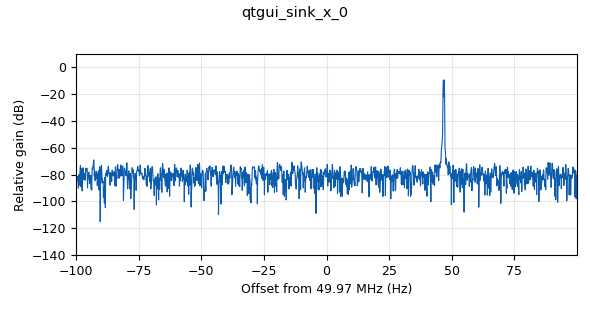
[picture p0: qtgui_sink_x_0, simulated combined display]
options:
  parameters:
    author: amp
    generate_options: qt_gui
    id: gr_meteor
    output_language: python
    title: Meteor Scatter Simulation
  states: {}

blocks:
- name: beacon_freq
  id: variable_qtgui_entry
  parameters:
    label: Beacon Frequency
    type: real
    value: '49970000'
  states: {}
- name: noiseLevel
  id: variable_qtgui_range
  parameters:
    label: Noise Level
    start: '0'
    step: '0.05'
    stop: '1'
    value: '0.10'
    widget: slider
  states: {}
- name: riseFracc
  id: variable
  parameters:
    value: '0.1'
  states: {}
- name: samp_rate
  id: variable
  parameters:
    value: '6048'
  states: {}
- name: samp_rate_label
  id: variable_qtgui_label
  parameters:
    label: 'Sampling Rate (Sa/s):'
    type: int
    value: samp_rate
  states: {}
- name: ud_dur
  id: variable_qtgui_entry
  parameters:
    label: 'Underdense Duration (s):'
    type: real
    value: '1'
  states: {}
- name: ud_samples
  id: variable
  parameters:
    value: samp_rate*ud_dur
  states: {}
- name: analog_noise_source_x_0
  id: analog_noise_source_x
  parameters:
    amp: noiseLevel/10
    comment: Noise
    noise_type: analog.GR_GAUSSIAN
    seed: '0'
    type: complex
  states: {}
- name: analog_sig_source_x_0
  id: analog_sig_source_x
  parameters:
    alias: Beacon
    amp: '1'
    comment: Beacon
    freq: beacon_freq
    offset: '0'
    phase: '0'
    samp_rate: samp_rate
    type: complex
    waveform: analog.GR_SIN_WAVE
  states: {}
- name: blocks_add_xx_0
  id: blocks_add_xx
  parameters:
    num_inputs: '3'
    type: complex
  states: {}
- name: blocks_multiply_xx_0
  id: blocks_multiply_xx
  parameters:
    type: complex
  states: {}
- name: blocks_null_sink_1
  id: blocks_null_sink
  parameters:
    type: float
  states: {}
- name: blocks_throttle2_0
  id: blocks_throttle2
  parameters:
    samples_per_second: samp_rate
    type: complex
  states: {}
- name: blocks_vector_source_x_0
  id: blocks_vector_source_x
  parameters:
    comment: Underdense Meteor Envelope
    repeat: 'True'
    type: complex
    vector: ([0.0]*100000 + [np.exp(-x/4000.0) for x in range(ud_samples)] + [0.0]*100000)
  states: {state: disabled}
- name: blocks_vector_source_x_0_0
  id: blocks_vector_source_x
  parameters:
    comment: Underdense Meteor Envelope
    repeat: 'True'
    type: complex
    vector: ([np.exp(x/(riseFracc*ud_samples)) for x in range(-int(riseFracc*ud_samples), 0)]+[np.exp(-x/((1-riseFracc)*ud_samples)) for x in range(0, int((1-riseFracc)*ud_samples))])
  states: {}
- name: epy_block_0
  id: epy_block
  parameters:
    _source_code: "import random\nimport numpy as np\nfrom gnuradio import gr\nimport pmt\n\nclass blk(gr.sync_block):\n    def __init__(self):\n        gr.sync_block.__init__(\n            self,\n            name=\"Random dShift Publisher\",\n            in_sig=None,\n            out_sig=[np.float32]   # optional float output stream\n        )\n        self.counter = 0\n        self.current_val = 0.0\n\n        # Message output port for variable updates\n        self.message_port_register_out(pmt.intern(\"freq_out\"))\n\n    def work(self, input_items, output_items):\n        out = output_items[0]\n\n        for i in range(len(out)):\n            if self.counter % 1000 == 0:\n                self.current_val = random.uniform(-15, 15)\n\n                # Build PMT pair: (variable name, value)\n                msg = pmt.cons(\n                    pmt.intern(\"dShift\"),\n                    pmt.from_double(self.current_val)\n                )\n\n                # Publish the message\n                self.message_port_pub(pmt.intern(\"freq_out\"), msg)\n\n                # Print to terminal\n                # print(f\"[Random dShift Publisher] dShift = {self.current_val:.3f}\")\n\n            out[i] = self.current_val\n            self.counter += 1\n\n        return len(out)\n\n"
  states: {}
- name: freq_xlating_fir_filter_xxx_0_1
  id: freq_xlating_fir_filter_xxx
  parameters:
    alias: doppler_shift
    center_freq: '0'
    comment: Doppler Shift
    decim: '1'
    samp_rate: samp_rate
    taps: firdes.complex_band_pass(1, samp_rate, -samp_rate/(2), samp_rate/(2), 10)
    type: ccc
  states: {}
- name: import_0
  id: import
  parameters:
    imports: import numpy as np
  states: {}
- name: qtgui_sink_x_0
  id: qtgui_sink_x
  parameters:
    bw: '200'
    comment: Spectrogram
    fc: beacon_freq
    fftsize: '2048'
    plotconst: 'False'
    plotfreq: 'False'
    plottime: 'False'
    rate: '0.666'
    showrf: 'True'
    type: complex
  states: {}

connections:
- [analog_noise_source_x_0, '0', blocks_add_xx_0, '0']
- [analog_sig_source_x_0, '0', blocks_add_xx_0, '1']
- [analog_sig_source_x_0, '0', blocks_multiply_xx_0, '0']
- [blocks_add_xx_0, '0', blocks_throttle2_0, '0']
- [blocks_multiply_xx_0, '0', blocks_add_xx_0, '2']
- [blocks_throttle2_0, '0', qtgui_sink_x_0, '0']
- [blocks_vector_source_x_0, '0', freq_xlating_fir_filter_xxx_0_1, '0']
- [blocks_vector_source_x_0_0, '0', freq_xlating_fir_filter_xxx_0_1, '0']
- [epy_block_0, '0', blocks_null_sink_1, '0']
- [epy_block_0, freq_out, freq_xlating_fir_filter_xxx_0_1, freq]
- [freq_xlating_fir_filter_xxx_0_1, '0', blocks_multiply_xx_0, '1']

metadata:
  file_format: 1
  grc_version: 3.10.9.2
